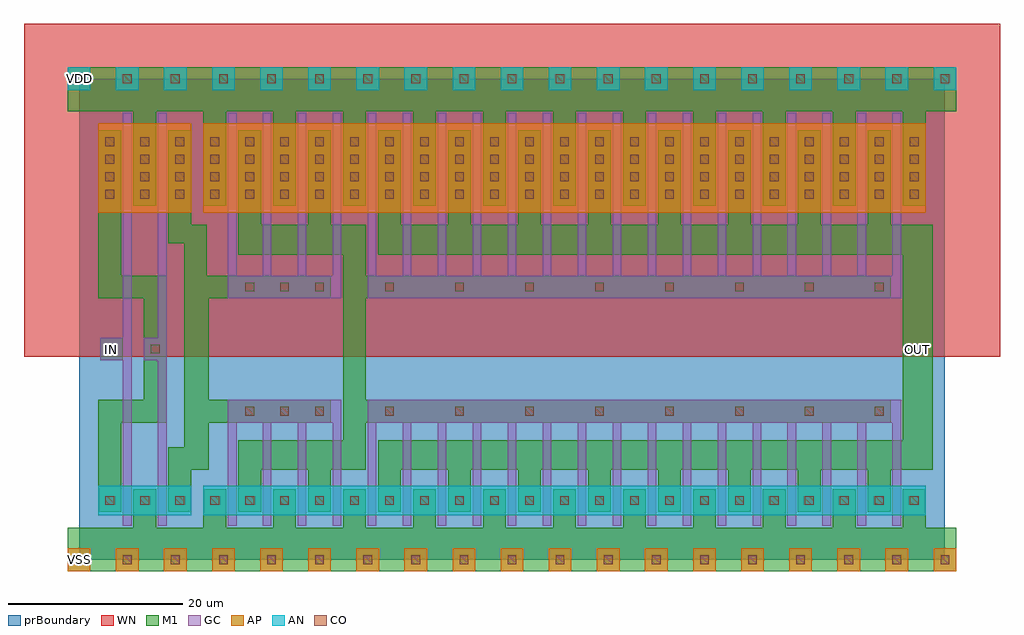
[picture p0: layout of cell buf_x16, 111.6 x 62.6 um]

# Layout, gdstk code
import gdstk
lib = gdstk.Library(unit=1e-6, precision=1e-07)
def R(c, l, rs):  # rectangles x0, y0, x1, y1
    for r in rs: c.add(gdstk.rectangle(r[:2], r[2:], *l))
def A(c, l, x, y, w, h, nx, ny, dx, dy):  # array of equal rectangles
    R(c, l, [(x+i*dx, y+j*dy, x+i*dx+w, y+j*dy+h) for i in range(nx) for j in range(ny)])
def P(c, l, *ps):  # polygons
    for p in ps: c.add(gdstk.Polygon(p, *l))
AP = (3, 1)
AN = (3, 2)
GC = (8, 1)
CO = (11, 0)
M1 = (13, 0)
WN = (140, 0)
prBoundary = (235, 0)

fet_n_1 = lib.new_cell('fet_n$1')
R(fet_n_1, AN, [(-5.3,-1.7,5.3,1.7)])
A(fet_n_1, CO, -4.5, -0.5, 1, 1, 3, 1, 4, 0)
A(fet_n_1, M1, -5.3, -1.3, 2.6, 2.6, 3, 1, 4, 0)
fet_n_1.add(gdstk.FlexPath([(2,-2.9),(2,2.9)], 1, ends="flush", simple_path=True, layer=8, datatype=1))  # GC
fet_n_1.add(gdstk.FlexPath([(-2,-2.9),(-2,2.9)], 1, ends="flush", simple_path=True, layer=8, datatype=1))  # GC

cont_p = lib.new_cell('cont_p')
R(cont_p, AP, [(-1.3,-1.3,1.3,1.3)])
R(cont_p, CO, [(-0.5,-0.5,0.5,0.5)])
R(cont_p, M1, [(-1.3,-1.3,1.3,1.3)])

cont_n = lib.new_cell('cont_n')
R(cont_n, AN, [(-1.3,-1.3,1.3,1.3)])
R(cont_n, CO, [(-0.5,-0.5,0.5,0.5)])
R(cont_n, M1, [(-1.3,-1.3,1.3,1.3)])

fet_p = lib.new_cell('fet_p')
R(fet_p, AP, [(-5.3,-5.1,5.3,5.1)])
A(fet_p, CO, -4.5, -3.5, 1, 1, 3, 4, 4, 2)
A(fet_p, M1, -5.3, -4.3, 2.6, 8.6, 3, 1, 4, 0)
fet_p.add(gdstk.FlexPath([(2,-6.3),(2,6.3)], 1, ends="flush", simple_path=True, layer=8, datatype=1))  # GC
fet_p.add(gdstk.FlexPath([(-2,-6.3),(-2,6.3)], 1, ends="flush", simple_path=True, layer=8, datatype=1))  # GC

fet_n = lib.new_cell('fet_n')
R(fet_n, AN, [(-41.3,-1.7,41.3,1.7)])
A(fet_n, CO, -40.5, -0.5, 1, 1, 21, 1, 4, 0)
A(fet_n, M1, -41.3, -1.3, 2.6, 2.6, 21, 1, 4, 0)
fet_n.add(gdstk.FlexPath([(2,-2.9),(2,2.9)], 1, ends="flush", simple_path=True, layer=8, datatype=1))  # GC
fet_n.add(gdstk.FlexPath([(-2,-2.9),(-2,2.9)], 1, ends="flush", simple_path=True, layer=8, datatype=1))  # GC
fet_n.add(gdstk.FlexPath([(6,-2.9),(6,2.9)], 1, ends="flush", simple_path=True, layer=8, datatype=1))  # GC
fet_n.add(gdstk.FlexPath([(-6,-2.9),(-6,2.9)], 1, ends="flush", simple_path=True, layer=8, datatype=1))  # GC
fet_n.add(gdstk.FlexPath([(10,-2.9),(10,2.9)], 1, ends="flush", simple_path=True, layer=8, datatype=1))  # GC
fet_n.add(gdstk.FlexPath([(-10,-2.9),(-10,2.9)], 1, ends="flush", simple_path=True, layer=8, datatype=1))  # GC
fet_n.add(gdstk.FlexPath([(14,-2.9),(14,2.9)], 1, ends="flush", simple_path=True, layer=8, datatype=1))  # GC
fet_n.add(gdstk.FlexPath([(-14,-2.9),(-14,2.9)], 1, ends="flush", simple_path=True, layer=8, datatype=1))  # GC
fet_n.add(gdstk.FlexPath([(18,-2.9),(18,2.9)], 1, ends="flush", simple_path=True, layer=8, datatype=1))  # GC
fet_n.add(gdstk.FlexPath([(-18,-2.9),(-18,2.9)], 1, ends="flush", simple_path=True, layer=8, datatype=1))  # GC
fet_n.add(gdstk.FlexPath([(22,-2.9),(22,2.9)], 1, ends="flush", simple_path=True, layer=8, datatype=1))  # GC
fet_n.add(gdstk.FlexPath([(-22,-2.9),(-22,2.9)], 1, ends="flush", simple_path=True, layer=8, datatype=1))  # GC
fet_n.add(gdstk.FlexPath([(26,-2.9),(26,2.9)], 1, ends="flush", simple_path=True, layer=8, datatype=1))  # GC
fet_n.add(gdstk.FlexPath([(-26,-2.9),(-26,2.9)], 1, ends="flush", simple_path=True, layer=8, datatype=1))  # GC
fet_n.add(gdstk.FlexPath([(30,-2.9),(30,2.9)], 1, ends="flush", simple_path=True, layer=8, datatype=1))  # GC
fet_n.add(gdstk.FlexPath([(-30,-2.9),(-30,2.9)], 1, ends="flush", simple_path=True, layer=8, datatype=1))  # GC
fet_n.add(gdstk.FlexPath([(34,-2.9),(34,2.9)], 1, ends="flush", simple_path=True, layer=8, datatype=1))  # GC
fet_n.add(gdstk.FlexPath([(-34,-2.9),(-34,2.9)], 1, ends="flush", simple_path=True, layer=8, datatype=1))  # GC
fet_n.add(gdstk.FlexPath([(38,-2.9),(38,2.9)], 1, ends="flush", simple_path=True, layer=8, datatype=1))  # GC
fet_n.add(gdstk.FlexPath([(-38,-2.9),(-38,2.9)], 1, ends="flush", simple_path=True, layer=8, datatype=1))  # GC

fet_p_1 = lib.new_cell('fet_p$1')
R(fet_p_1, AP, [(-41.3,-5.1,41.3,5.1)])
A(fet_p_1, CO, -40.5, -3.5, 1, 1, 21, 4, 4, 2)
A(fet_p_1, M1, -41.3, -4.3, 2.6, 8.6, 21, 1, 4, 0)
fet_p_1.add(gdstk.FlexPath([(2,-6.3),(2,6.3)], 1, ends="flush", simple_path=True, layer=8, datatype=1))  # GC
fet_p_1.add(gdstk.FlexPath([(-2,-6.3),(-2,6.3)], 1, ends="flush", simple_path=True, layer=8, datatype=1))  # GC
fet_p_1.add(gdstk.FlexPath([(6,-6.3),(6,6.3)], 1, ends="flush", simple_path=True, layer=8, datatype=1))  # GC
fet_p_1.add(gdstk.FlexPath([(-6,-6.3),(-6,6.3)], 1, ends="flush", simple_path=True, layer=8, datatype=1))  # GC
fet_p_1.add(gdstk.FlexPath([(10,-6.3),(10,6.3)], 1, ends="flush", simple_path=True, layer=8, datatype=1))  # GC
fet_p_1.add(gdstk.FlexPath([(-10,-6.3),(-10,6.3)], 1, ends="flush", simple_path=True, layer=8, datatype=1))  # GC
fet_p_1.add(gdstk.FlexPath([(14,-6.3),(14,6.3)], 1, ends="flush", simple_path=True, layer=8, datatype=1))  # GC
fet_p_1.add(gdstk.FlexPath([(-14,-6.3),(-14,6.3)], 1, ends="flush", simple_path=True, layer=8, datatype=1))  # GC
fet_p_1.add(gdstk.FlexPath([(18,-6.3),(18,6.3)], 1, ends="flush", simple_path=True, layer=8, datatype=1))  # GC
fet_p_1.add(gdstk.FlexPath([(-18,-6.3),(-18,6.3)], 1, ends="flush", simple_path=True, layer=8, datatype=1))  # GC
fet_p_1.add(gdstk.FlexPath([(22,-6.3),(22,6.3)], 1, ends="flush", simple_path=True, layer=8, datatype=1))  # GC
fet_p_1.add(gdstk.FlexPath([(-22,-6.3),(-22,6.3)], 1, ends="flush", simple_path=True, layer=8, datatype=1))  # GC
fet_p_1.add(gdstk.FlexPath([(26,-6.3),(26,6.3)], 1, ends="flush", simple_path=True, layer=8, datatype=1))  # GC
fet_p_1.add(gdstk.FlexPath([(-26,-6.3),(-26,6.3)], 1, ends="flush", simple_path=True, layer=8, datatype=1))  # GC
fet_p_1.add(gdstk.FlexPath([(30,-6.3),(30,6.3)], 1, ends="flush", simple_path=True, layer=8, datatype=1))  # GC
fet_p_1.add(gdstk.FlexPath([(-30,-6.3),(-30,6.3)], 1, ends="flush", simple_path=True, layer=8, datatype=1))  # GC
fet_p_1.add(gdstk.FlexPath([(34,-6.3),(34,6.3)], 1, ends="flush", simple_path=True, layer=8, datatype=1))  # GC
fet_p_1.add(gdstk.FlexPath([(-34,-6.3),(-34,6.3)], 1, ends="flush", simple_path=True, layer=8, datatype=1))  # GC
fet_p_1.add(gdstk.FlexPath([(38,-6.3),(38,6.3)], 1, ends="flush", simple_path=True, layer=8, datatype=1))  # GC
fet_p_1.add(gdstk.FlexPath([(-38,-6.3),(-38,6.3)], 1, ends="flush", simple_path=True, layer=8, datatype=1))  # GC

cont_g = lib.new_cell('cont_g')
R(cont_g, GC, [(-1.3,-1.3,1.3,1.3)])
R(cont_g, CO, [(-0.5,-0.5,0.5,0.5)])
R(cont_g, M1, [(-1.3,-1.3,1.3,1.3)])

buf_x16 = lib.new_cell('buf_x16')
R(buf_x16, GC, [(3.8,9.7,4.8,38.5), (7.8,9.7,8.8,38.5)])
P(buf_x16, GC, [(15.8,9.7),(15.8,18.3),(28.8,18.3),(28.8,9.7),(27.8,9.7),(27.8,15.7),(24.8,15.7),(24.8,9.7),(23.8,9.7),(23.8,15.7),(20.8,15.7),(20.8,9.7),(19.8,9.7),(19.8,15.7),(16.8,15.7),(16.8,9.7)],
  [(31.8,9.7),(31.8,18.3),(92.8,18.3),(92.8,9.7),(91.8,9.7),(91.8,15.7),(88.8,15.7),(88.8,9.7),(87.8,9.7),(87.8,15.7),(84.8,15.7),(84.8,9.7),(83.8,9.7),(83.8,15.7),(80.8,15.7),(80.8,9.7),(79.8,9.7),(79.8,15.7),(76.8,15.7),(76.8,9.7),(75.8,9.7),(75.8,15.7),(72.8,15.7),(72.8,9.7),(71.8,9.7),(71.8,15.7),(68.8,15.7),(68.8,9.7),(67.8,9.7),(67.8,15.7),(64.8,15.7),(64.8,9.7),(63.8,9.7),(63.8,15.7),(60.8,15.7),(60.8,9.7),(59.8,9.7),(59.8,15.7),(56.8,15.7),(56.8,9.7),(55.8,9.7),(55.8,15.7),(52.8,15.7),(52.8,9.7),(51.8,9.7),(51.8,15.7),(48.8,15.7),(48.8,9.7),(47.8,9.7),(47.8,15.7),(44.8,15.7),(44.8,9.7),(43.8,9.7),(43.8,15.7),(40.8,15.7),(40.8,9.7),(39.8,9.7),(39.8,15.7),(36.8,15.7),(36.8,9.7),(35.8,9.7),(35.8,15.7),(32.8,15.7),(32.8,9.7)],
  [(15.8,29.9),(15.8,38.5),(16.8,38.5),(16.8,32.5),(19.8,32.5),(19.8,38.5),(20.8,38.5),(20.8,32.5),(23.8,32.5),(23.8,38.5),(24.8,38.5),(24.8,32.5),(27.8,32.5),(27.8,38.5),(28.8,38.5),(28.8,29.9)],
  [(31.8,29.9),(31.8,38.5),(32.8,38.5),(32.8,32.5),(35.8,32.5),(35.8,38.5),(36.8,38.5),(36.8,32.5),(39.8,32.5),(39.8,38.5),(40.8,38.5),(40.8,32.5),(43.8,32.5),(43.8,38.5),(44.8,38.5),(44.8,32.5),(47.8,32.5),(47.8,38.5),(48.8,38.5),(48.8,32.5),(51.8,32.5),(51.8,38.5),(52.8,38.5),(52.8,32.5),(55.8,32.5),(55.8,38.5),(56.8,38.5),(56.8,32.5),(59.8,32.5),(59.8,38.5),(60.8,38.5),(60.8,32.5),(63.8,32.5),(63.8,38.5),(64.8,38.5),(64.8,32.5),(67.8,32.5),(67.8,38.5),(68.8,38.5),(68.8,32.5),(71.8,32.5),(71.8,38.5),(72.8,38.5),(72.8,32.5),(75.8,32.5),(75.8,38.5),(76.8,38.5),(76.8,32.5),(79.8,32.5),(79.8,38.5),(80.8,38.5),(80.8,32.5),(83.8,32.5),(83.8,38.5),(84.8,38.5),(84.8,32.5),(87.8,32.5),(87.8,38.5),(88.8,38.5),(88.8,32.5),(91.8,32.5),(91.8,38.5),(92.8,38.5),(92.8,29.9)])
A(buf_x16, M1, 5, 3.7, 2.6, 1.8, 12, 1, 8, 0)
A(buf_x16, M1, 5, 49.1, 2.6, 2.2, 12, 1, 8, 0)
R(buf_x16, M1, [(-2.5,-1.3,99.1,3.7), (-2.5,51.3,99.1,56.3)])
P(buf_x16, M1, [(17,8.1),(17,13.7),(29,13.7),(29,34.9),(17,34.9),(17,40.5),(19.6,40.5),(19.6,38.3),(25,38.3),(25,40.5),(27.6,40.5),(27.6,38.3),(31.6,38.3),(31.6,32.5),(91.6,32.5),(91.6,29.9),(31.6,29.9),(31.6,18.3),(91.6,18.3),(91.6,15.7),(31.6,15.7),(31.6,10.3),(27.6,10.3),(27.6,8.1),(25,8.1),(25,10.3),(19.6,10.3),(19.6,8.1)],
  [(1,8.1),(1,18.3),(6.2,18.3),(6.2,29.9),(1,29.9),(1,40.5),(3.6,40.5),(3.6,32.5),(8.8,32.5),(8.8,15.7),(3.6,15.7),(3.6,8.1)],
  [(9,8.1),(9,12.9),(10.8,12.9),(10.8,36.2),(9,36.2),(9,40.5),(11.6,40.5),(11.6,38.3),(13.4,38.3),(13.4,32.5),(27.6,32.5),(27.6,29.9),(13.6,29.9),(13.6,18.3),(27.6,18.3),(27.6,15.7),(13.6,15.7),(13.6,10.3),(11.6,10.3),(11.6,8.1)],
  [(33,8.1),(33,13.7),(93,13.7),(93,34.9),(33,34.9),(33,40.5),(35.6,40.5),(35.6,38.3),(41,38.3),(41,40.5),(43.6,40.5),(43.6,38.3),(49,38.3),(49,40.5),(51.6,40.5),(51.6,38.3),(57,38.3),(57,40.5),(59.6,40.5),(59.6,38.3),(65,38.3),(65,40.5),(67.6,40.5),(67.6,38.3),(73,38.3),(73,40.5),(75.6,40.5),(75.6,38.3),(81,38.3),(81,40.5),(83.6,40.5),(83.6,38.3),(89,38.3),(89,40.5),(91.6,40.5),(91.6,38.3),(96.4,38.3),(96.4,10.3),(91.6,10.3),(91.6,8.1),(89,8.1),(89,10.3),(83.6,10.3),(83.6,8.1),(81,8.1),(81,10.3),(75.6,10.3),(75.6,8.1),(73,8.1),(73,10.3),(67.6,10.3),(67.6,8.1),(65,8.1),(65,10.3),(59.6,10.3),(59.6,8.1),(57,8.1),(57,10.3),(51.6,10.3),(51.6,8.1),(49,8.1),(49,10.3),(43.6,10.3),(43.6,8.1),(41,8.1),(41,10.3),(35.6,10.3),(35.6,8.1)])
R(buf_x16, WN, [(-7.5,23.2,104.1,61.3)])
R(buf_x16, prBoundary, [(-1.2,0,97.8,55)])
buf_x16.add(gdstk.Reference(fet_n_1, (6.3,6.8)))
r = gdstk.Reference(cont_p, (-1.2,0)); r.repetition = gdstk.Repetition(19, 1, v1=(5.5,0), v2=(0,0)); buf_x16.add(r)
r = gdstk.Reference(cont_n, (-1.2,55)); r.repetition = gdstk.Repetition(19, 1, v1=(5.5,0), v2=(0,0)); buf_x16.add(r)
buf_x16.add(gdstk.Reference(fet_p, (6.3,44.8)))
buf_x16.add(gdstk.Reference(fet_n, (54.3,6.8)))
buf_x16.add(gdstk.Reference(fet_p_1, (54.3,44.8)))
r = gdstk.Reference(cont_g, (18.3,17)); r.repetition = gdstk.Repetition(3, 2, v1=(4,0), v2=(0,14.2)); buf_x16.add(r)
buf_x16.add(gdstk.Reference(cont_g, (2.5,24.1)))
buf_x16.add(gdstk.Reference(cont_g, (7.5,24.1)))
r = gdstk.Reference(cont_g, (34.3,17)); r.repetition = gdstk.Repetition(8, 2, v1=(8,0), v2=(0,14.2)); buf_x16.add(r)
buf_x16.add(gdstk.Label('IN', (2.5,24.1), layer=48, texttype=0))
buf_x16.add(gdstk.Label('OUT', (94.7,24.1), layer=48, texttype=0))
buf_x16.add(gdstk.Label('VSS', (-1.2,0), layer=48, texttype=0))
buf_x16.add(gdstk.Label('VDD', (-1.2,55), layer=48, texttype=0))

lib.write_gds('buf_x16.gds')
